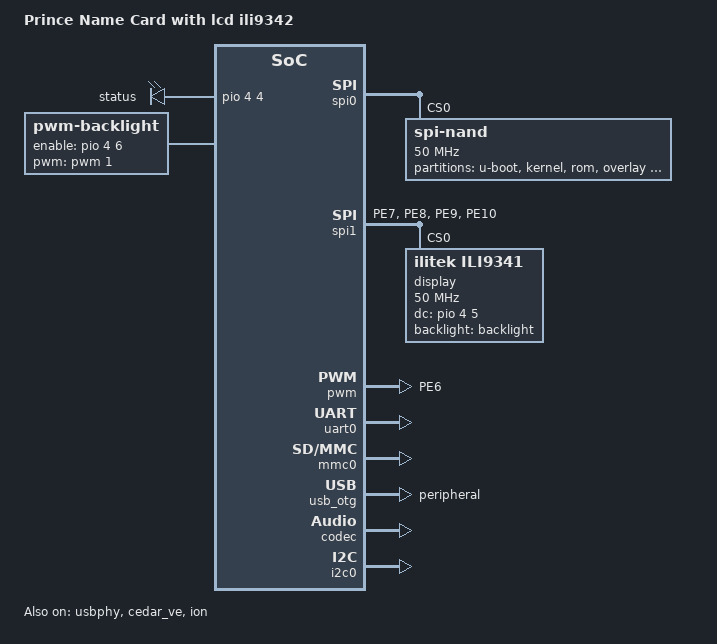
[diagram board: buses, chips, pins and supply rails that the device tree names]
// SPDX-License-Identifier: (GPL-2.0+ OR X11)

/dts-v1/;
#include "suniv-f1c100s.dtsi"
#include <dt-bindings/gpio/gpio.h>
#include <dt-bindings/input/input.h>
#include <dt-bindings/pwm/pwm.h>

/ {
	model = "Prince Name Card with lcd ili9342";
	compatible = "allwinner,suniv-f1c100s";

	chosen {
		#address-cells = <1>;
		#size-cells = <1>;
		ranges;

		bootargs = "console=ttyS0,115200 earlyprintk rootwait init=/preinit root=/dev/mtdblock2 rootfstype=squashfs overlayfsdev=/dev/mtdblock3";
	};

	leds {
		compatible = "gpio-leds";

		status {
			label = "status";
			gpios = <&pio 4 4 GPIO_ACTIVE_HIGH>; /* PE4 */
			linux,default-trigger = "heartbeat";
		};
	};

	backlight: backlight {
		compatible = "pwm-backlight";
		pwms = <&pwm 1 50000 PWM_POLARITY_INVERTED>;
		enable-gpios = <&pio 4 6 GPIO_ACTIVE_HIGH>;

		brightness-levels = <0 1 2 4 8 16 32 64 128 255>;
		default-brightness-level = <2>;
	};
};

&spi0 {
	status = "okay";

	spi-nor@0 {
		#address-cells = <1>;
		#size-cells = <1>;
		compatible = "winbond,w25q128", "jedec,spi-nor";
		reg = <0>;
		spi-max-frequency = <50000000>;
		status = "disabled";

		partitions {
			compatible = "fixed-partitions";
			#address-cells = <1>;
			#size-cells = <1>;

			partition@0 {
				label = "u-boot";
				reg = <0x000000 0x70000>;
				read-only;
			};

			partition@1 {
				label = "kernel";
				reg = <0x70000 0x590000>;
				read-only;
			};

			partition@2 {
				label = "rom";
				reg = <0x600000 0x700000>;
				read-only;
			};

			partition@3 {
				label = "overlay";
				reg = <0xd00000 0x300000>;
			};
		};
	};

	spi-nand@0 {
		#address-cells = <1>;
		#size-cells = <1>;
		compatible = "spi-nand";
		reg = <0>;
		spi-max-frequency = <50000000>;
		status = "okay";

		partitions {
			compatible = "fixed-partitions";
			#address-cells = <1>;
			#size-cells = <1>;

			partition@0 {
				label = "u-boot";
				reg = <0x000000 0x100000>;
				read-only;
			};

			partition@1 {
				label = "kernel";
				reg = <0x100000 0x500000>;
				read-only;
			};

			partition@2 {
				label = "rom";
				reg = <0x600000 0x2a00000>;
				read-only;
			};

			partition@3 {
				label = "overlay";
				reg = <0x3000000 0x1000000>;
			};

			partition@4 {
				label = "udisk";
				reg = <0x4000000 0x4000000>;
			};
		};
	};
};

&pio {
	spi1_pins: spi1-pins-pa {
		pins = "PE7", "PE8", "PE9", "PE10";
		function = "spi1";
	};

	pwm1_pin: pwm1@0 {
		pins = "PE6";
		function = "pwm1";
	};
};

&spi1 {
	#address-cells = <1>;
	#size-cells = <0>;
	pinctrl-names = "default";
	pinctrl-0 = <&spi1_pins>;
	status = "okay";

	display@0 {
		compatible = "ilitek,ili9341";
		reg = <0>;
		status = "okay";
		spi-max-frequency = <50000000>;
		rotate = <270>;
		bgr;
		fps = <30>;
		buswidth = <8>;
		dc-gpios = <&pio 4 5 GPIO_ACTIVE_HIGH>; //PE5
		debug = <0>;
		backlight = <&backlight>;
	};
};

&pwm {
	pinctrl-names = "default";
	pinctrl-0 = <&pwm1_pin>;
	status = "okay";
};

&uart0 {
	pinctrl-names = "default";
	pinctrl-0 = <&uart0_pe_pins>;
	status = "okay";
};

&mmc0 {
	status = "okay";
	broken-cd;
};

&otg_sram {
	status = "okay";
};

&usb_otg {
	dr_mode = "peripheral"; /* otg host peripheral */
	status = "okay";
};

&usbphy {
	//usb0_id_det-gpio = <&pio 4 2 GPIO_ACTIVE_HIGH>; /* PE2 */
	status = "okay";
};

&cedar_ve {
	status = "okay";
};

&ion {
	status = "okay";
};

&codec {
	allwinner,audio-routing =
		"Headphone", "HP",
		"Headphone", "HPCOM",
		"LINEIN", "Line In",
		"FMINL", "Left FM In",
		"FMINR", "Right FM In",
		"MIC", "Mic";
	status = "okay";
};

&i2c0 {
	pinctrl-names = "default";
	pinctrl-0 = <&i2c0_pd_pins>;
	status = "okay";
};
